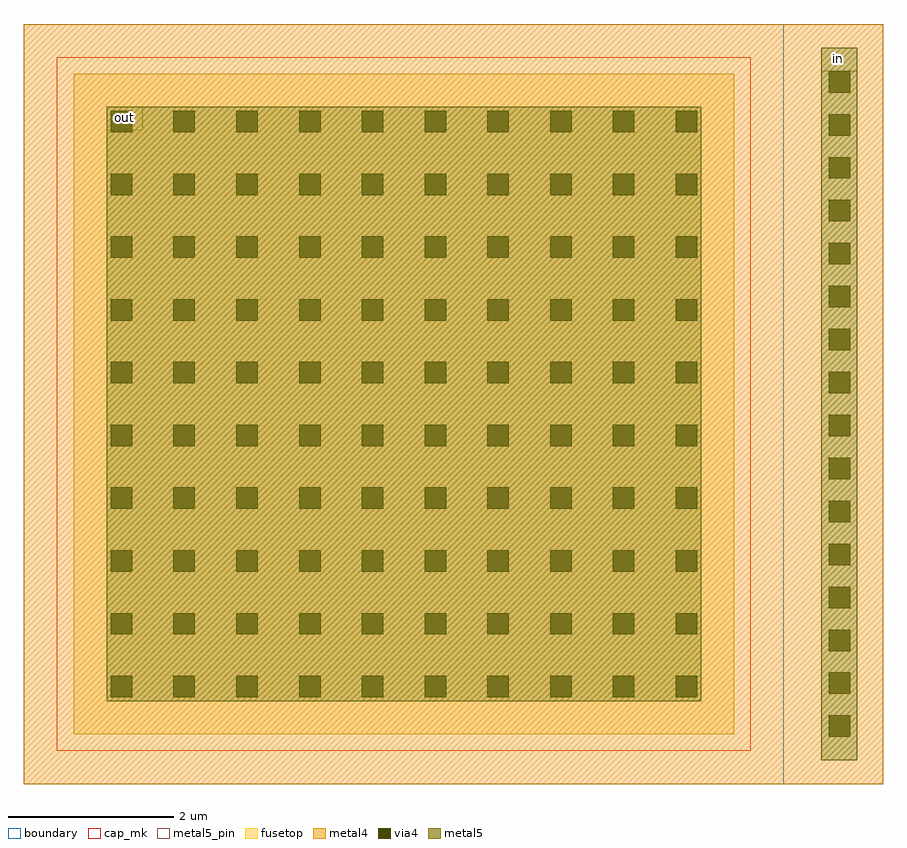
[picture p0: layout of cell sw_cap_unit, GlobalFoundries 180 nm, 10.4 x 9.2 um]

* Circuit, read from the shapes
.subckt sw_cap_unit in out
XC1 out in cap_mim_2f0fF c_width=8u c_length=8u
.ends

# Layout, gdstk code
import gdstk
lib = gdstk.Library(unit=1e-6, precision=1e-09)
def R(c, l, rs):  # rectangles x0, y0, x1, y1
    for r in rs: c.add(gdstk.rectangle(r[:2], r[2:], *l))
def A(c, l, x, y, w, h, nx, ny, dx, dy):  # array of equal rectangles
    R(c, l, [(x+i*dx, y+j*dy, x+i*dx+w, y+j*dy+h) for i in range(nx) for j in range(ny)])
boundary = (0, 0)
via4 = (41, 0)
metal4 = (46, 0)
fusetop = (75, 0)
metal5 = (81, 0)
metal5_pin = (81, 10)
cap_mk = (117, 5)

cap_mim_2p0ff_8jnr63 = lib.new_cell('cap_mim_2p0fF_8JNR63')
R(cap_mim_2p0ff_8jnr63, boundary, [(-5.2,-4.6,4,4.6)])
A(cap_mim_2p0ff_8jnr63, via4, 4.54, -4.03, 0.26, 0.26, 1, 16, 0, 0.52)
A(cap_mim_2p0ff_8jnr63, via4, -4.15, -3.55, 0.26, 0.26, 10, 10, 0.76, 0.76)
R(cap_mim_2p0ff_8jnr63, metal4, [(-5.2,-4.6,5.2,4.6)])
R(cap_mim_2p0ff_8jnr63, fusetop, [(-4.6,-4,3.4,4)])
R(cap_mim_2p0ff_8jnr63, metal5, [(4.45,-4.315,4.89,4.315), (-4.2,-3.6,3,3.6)])
R(cap_mim_2p0ff_8jnr63, cap_mk, [(-4.8,-4.2,3.6,4.2)])

sw_cap_unit = lib.new_cell('sw_cap_unit')
R(sw_cap_unit, metal5_pin, [(-0.1,7.765,0.34,8.05), (8.55,8.48,8.99,8.765)])
sw_cap_unit.add(gdstk.Reference(cap_mim_2p0ff_8jnr63, (4.1,4.45)))
sw_cap_unit.add(gdstk.Label('in', (8.765,8.635), layer=81, texttype=10))
sw_cap_unit.add(gdstk.Label('out', (0.115,7.92), layer=81, texttype=10))

lib.write_gds('sw_cap_unit.gds')
